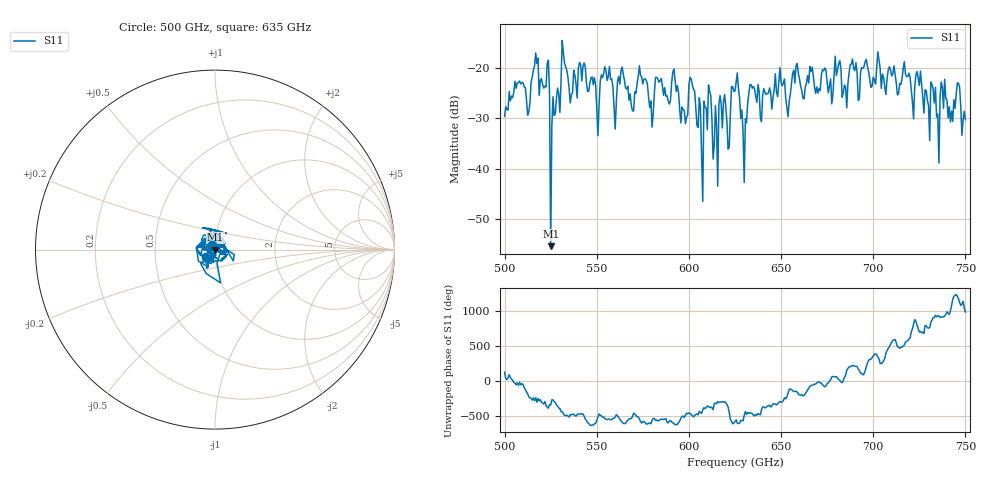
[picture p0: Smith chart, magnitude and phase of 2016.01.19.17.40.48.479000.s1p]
!Created with skrf (http://scikit-rf.org).
# GHz S RI R 50.0
!freq ReS11 ImS11
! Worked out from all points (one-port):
!   401 points, 500 GHz to 750 GHz, reference 50 ohm
!   lowest |S11| = -55.4 dB at 525 GHz (marker M1), VSWR 1.00, Z = 50.2 + j0.0406 ohm
!   |S11| at or under -10 dB: start of sweep to end of sweep
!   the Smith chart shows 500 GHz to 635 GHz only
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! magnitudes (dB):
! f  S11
! 500 GHz  -29.6
! 506.9 GHz  -23.0
! 513.1 GHz  -28.7
! 516.9 GHz  -17.0
! 523.1 GHz  -19.1
! 525 GHz  -55.4
! 526.2 GHz  -25.7
! 531.2 GHz  -14.5
! 550.6 GHz  -33.4
! 562.5 GHz  -23.2
! 568.8 GHz  -27.5
! 573.1 GHz  -19.6
! 579.4 GHz  -26.6
! 583.1 GHz  -22.1
! 593.8 GHz  -23.5
! 598.1 GHz  -31.1
! 601.9 GHz  -23.4
! 606.2 GHz  -27.8
! 610.6 GHz  -23.4
! 614.4 GHz  -27.5
! 625 GHz  -24.6
! 630 GHz  -42.8
! 633.8 GHz  -23.3
! 656.2 GHz  -21.1
! 684.4 GHz  -23.4
! 687.5 GHz  -19.3
! 718.8 GHz  -21.7
! 750 GHz  -30.3
